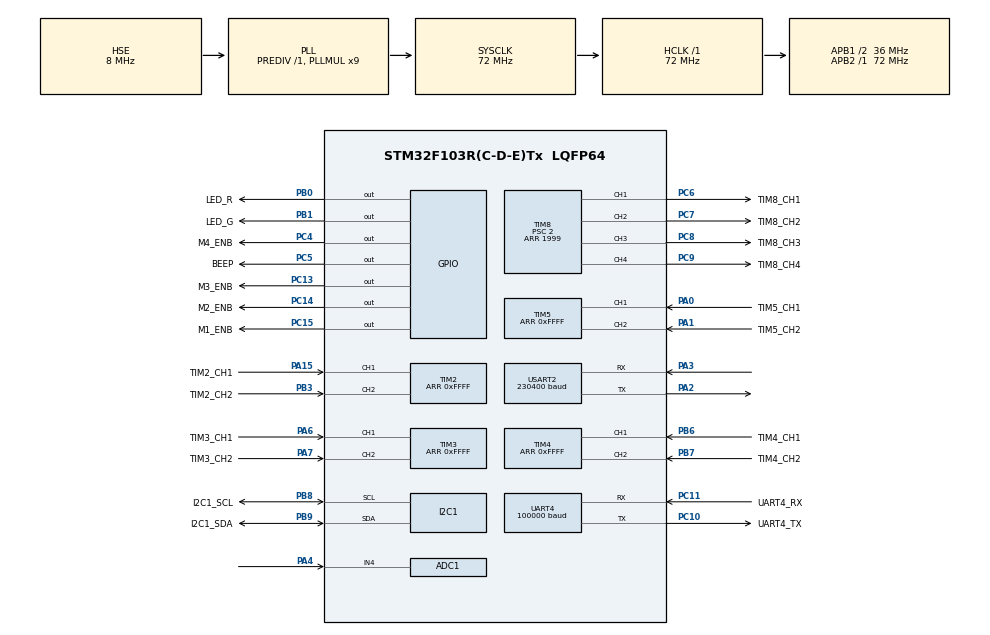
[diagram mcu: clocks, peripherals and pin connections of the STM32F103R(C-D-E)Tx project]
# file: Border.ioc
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ADC1.Channel-1\#ChannelRegularConversion=ADC_CHANNEL_4
ADC1.Channel-2\#ChannelRegularConversion=ADC_CHANNEL_VREFINT
ADC1.ContinuousConvMode=ENABLE
ADC1.DataAlign=ADC_DATAALIGN_LEFT
ADC1.EnableAnalogWatchDog=false
ADC1.EnableInjectedConversion=DISABLE
ADC1.EnableRegularConversion=ENABLE
ADC1.ExternalTrigConv=ADC_SOFTWARE_START
ADC1.InjNumberOfConversion=3
ADC1.Mode=__NULL
ADC1.NbrOfConversion=2
ADC1.NbrOfConversionFlag=1
ADC1.Rank-1\#ChannelRegularConversion=1
ADC1.Rank-2\#ChannelRegularConversion=2
ADC1.SamplingTime-1\#ChannelRegularConversion=ADC_SAMPLETIME_1CYCLE_5
ADC1.SamplingTime-2\#ChannelRegularConversion=ADC_SAMPLETIME_1CYCLE_5
ADC1.master=1
Dma.ADC1.4.Direction=DMA_PERIPH_TO_MEMORY
Dma.ADC1.4.Instance=DMA1_Channel1
Dma.ADC1.4.MemDataAlignment=DMA_MDATAALIGN_WORD
Dma.ADC1.4.MemInc=DMA_MINC_ENABLE
Dma.ADC1.4.Mode=DMA_CIRCULAR
Dma.ADC1.4.PeriphDataAlignment=DMA_PDATAALIGN_WORD
Dma.ADC1.4.PeriphInc=DMA_PINC_DISABLE
Dma.ADC1.4.Priority=DMA_PRIORITY_HIGH
Dma.Request0=UART4_RX
Dma.Request1=UART4_TX
Dma.Request2=USART2_RX
Dma.Request3=USART2_TX
Dma.Request4=ADC1
Dma.UART4_RX.0.Direction=DMA_PERIPH_TO_MEMORY
Dma.UART4_RX.0.Instance=DMA2_Channel3
Dma.UART4_RX.0.MemDataAlignment=DMA_MDATAALIGN_BYTE
Dma.UART4_RX.0.MemInc=DMA_MINC_ENABLE
Dma.UART4_RX.0.Mode=DMA_NORMAL
Dma.UART4_RX.0.PeriphDataAlignment=DMA_PDATAALIGN_BYTE
Dma.UART4_RX.0.PeriphInc=DMA_PINC_DISABLE
Dma.UART4_RX.0.Priority=DMA_PRIORITY_LOW
Dma.UART4_TX.1.Direction=DMA_MEMORY_TO_PERIPH
Dma.UART4_TX.1.Instance=DMA2_Channel5
Dma.UART4_TX.1.MemDataAlignment=DMA_MDATAALIGN_BYTE
Dma.UART4_TX.1.MemInc=DMA_MINC_ENABLE
Dma.UART4_TX.1.Mode=DMA_NORMAL
Dma.UART4_TX.1.PeriphDataAlignment=DMA_PDATAALIGN_BYTE
Dma.UART4_TX.1.PeriphInc=DMA_PINC_DISABLE
Dma.UART4_TX.1.Priority=DMA_PRIORITY_LOW
Dma.USART2_RX.2.Direction=DMA_PERIPH_TO_MEMORY
Dma.USART2_RX.2.Instance=DMA1_Channel6
Dma.USART2_RX.2.MemDataAlignment=DMA_MDATAALIGN_BYTE
Dma.USART2_RX.2.MemInc=DMA_MINC_ENABLE
Dma.USART2_RX.2.Mode=DMA_NORMAL
Dma.USART2_RX.2.PeriphDataAlignment=DMA_PDATAALIGN_BYTE
Dma.USART2_RX.2.PeriphInc=DMA_PINC_DISABLE
Dma.USART2_RX.2.Priority=DMA_PRIORITY_LOW
Dma.USART2_TX.3.Direction=DMA_MEMORY_TO_PERIPH
Dma.USART2_TX.3.Instance=DMA1_Channel7
Dma.USART2_TX.3.MemDataAlignment=DMA_MDATAALIGN_BYTE
Dma.USART2_TX.3.MemInc=DMA_MINC_ENABLE
Dma.USART2_TX.3.Mode=DMA_NORMAL
Dma.USART2_TX.3.PeriphDataAlignment=DMA_PDATAALIGN_BYTE
Dma.USART2_TX.3.PeriphInc=DMA_PINC_DISABLE
Dma.USART2_TX.3.Priority=DMA_PRIORITY_LOW
FREERTOS.INCLUDE_vTaskDelayUntil=1
FREERTOS.MEMORY_ALLOCATION=0
FREERTOS.Tasks01=Batter_Task_t,3,128,Batter_Task,Default,NULL,Dynamic,NULL,NULL;IMUTask_t,1,128,IMUTask,Default,NULL,Dynamic,NULL,NULL;Move_base_Task_,-3,1024,Move_base_Task,Default,NULL,Dynamic,NULL,NULL;DataTreatTask04,2,128,DataTreat_Task,Default,NULL,Dynamic,NULL,NULL;Data2PCTask,2,256,Data2PC_Task,Default,NULL,Dynamic,NULL,NULL
FREERTOS.configIDLE_SHOULD_YIELD=1
FREERTOS.configMAX_PRIORITIES=8
FREERTOS.configTOTAL_HEAP_SIZE=20480
FREERTOS.configUSE_TRACE_FACILITY=1
Mcu.Family=STM32F1
Mcu.Name=STM32F103R(C-D-E)Tx
Mcu.Package=LQFP64
NVIC.DMA1_Channel6_IRQn=true\:5\:0\:false\:false\:true\:true\:false\:true
NVIC.DMA1_Channel7_IRQn=true\:5\:0\:false\:false\:true\:true\:false\:true
NVIC.DMA2_Channel3_IRQn=true\:5\:0\:false\:false\:true\:true\:false\:true
NVIC.DMA2_Channel4_5_IRQn=true\:5\:0\:false\:false\:true\:true\:false\:true
NVIC.I2C1_ER_IRQn=true\:1\:0\:true\:false\:true\:false\:true\:true
NVIC.I2C1_EV_IRQn=true\:1\:0\:true\:false\:true\:false\:true\:true
NVIC.PriorityGroup=NVIC_PRIORITYGROUP_4
NVIC.TIM1_UP_IRQn=true\:0\:0\:false\:false\:true\:false\:false\:true
NVIC.TIM2_IRQn=true\:3\:0\:true\:false\:true\:false\:true\:true
NVIC.TIM3_IRQn=true\:3\:0\:true\:false\:true\:false\:true\:true
NVIC.TIM4_IRQn=true\:3\:0\:true\:false\:true\:false\:true\:true
NVIC.TIM5_IRQn=true\:3\:0\:true\:false\:true\:false\:true\:true
NVIC.TimeBase=TIM1_UP_IRQn
NVIC.TimeBaseIP=TIM1
NVIC.UART4_IRQn=true\:2\:0\:true\:false\:true\:false\:true\:true
NVIC.USART2_IRQn=true\:3\:0\:true\:false\:true\:false\:true\:true
PA0-WKUP.GPIO_Label=TIM5_CH1
PA0-WKUP.Signal=S_TIM5_CH1
PA1.GPIO_Label=TIM5_CH2
PA1.Signal=S_TIM5_CH2
PA13.Mode=Serial_Wire
PA13.Signal=SYS_JTMS-SWDIO
PA14.Mode=Serial_Wire
PA14.Signal=SYS_JTCK-SWCLK
PA15.GPIO_Label=TIM2_CH1
PA15.Signal=S_TIM2_CH1_ETR
PA2.Mode=Asynchronous
PA2.Signal=USART2_TX
PA3.Mode=Asynchronous
PA3.Signal=USART2_RX
PA4.Signal=ADCx_IN4
PA6.GPIO_Label=TIM3_CH1
PA6.Signal=S_TIM3_CH1
PA7.GPIO_Label=TIM3_CH2
PA7.Signal=S_TIM3_CH2
PB0.GPIO_Label=LED_R
PB0.GPIO_PuPd=GPIO_PULLDOWN
PB0.Signal=GPIO_Output
PB1.GPIO_Label=LED_G
PB1.GPIO_PuPd=GPIO_PULLDOWN
PB1.Signal=GPIO_Output
PB3.GPIO_Label=TIM2_CH2
PB3.Signal=S_TIM2_CH2
PB6.GPIO_Label=TIM4_CH1
PB6.Signal=S_TIM4_CH1
PB7.GPIO_Label=TIM4_CH2
PB7.Signal=S_TIM4_CH2
PB8.GPIO_Label=I2C1_SCL
PB8.Mode=I2C
PB8.Signal=I2C1_SCL
PB9.GPIO_Label=I2C1_SDA
PB9.Mode=I2C
PB9.Signal=I2C1_SDA
PC10.GPIO_Label=UART4_TX
PC10.Mode=Asynchronous
PC10.Signal=UART4_TX
PC11.GPIO_Label=UART4_RX
PC11.Mode=Asynchronous
PC11.Signal=UART4_RX
PC13-TAMPER-RTC.GPIO_Label=M3_ENB
PC13-TAMPER-RTC.Signal=GPIO_Output
PC14-OSC32_IN.GPIO_Label=M2_ENB
PC14-OSC32_IN.Signal=GPIO_Output
PC15-OSC32_OUT.GPIO_Label=M1_ENB
PC15-OSC32_OUT.Signal=GPIO_Output
PC4.GPIO_Label=M4_ENB
PC4.Signal=GPIO_Output
PC5.GPIO_Label=BEEP
PC5.Signal=GPIO_Output
PC6.GPIO_Label=TIM8_CH1
PC6.Signal=S_TIM8_CH1
PC7.GPIO_Label=TIM8_CH2
PC7.Signal=S_TIM8_CH2
PC8.GPIO_Label=TIM8_CH3
PC8.Signal=S_TIM8_CH3
PC9.GPIO_Label=TIM8_CH4
PC9.Signal=S_TIM8_CH4
PD0-OSC_IN.Mode=HSE-External-Oscillator
PD0-OSC_IN.Signal=RCC_OSC_IN
PD1-OSC_OUT.Mode=HSE-External-Oscillator
PD1-OSC_OUT.Signal=RCC_OSC_OUT
ProjectManager.HeapSize=0x200
ProjectManager.StackSize=0x400
ProjectManager.TargetToolchain=MDK-ARM V5.27
RCC.ADCPresc=RCC_ADCPCLK2_DIV6
RCC.AHBFreq_Value=72000000
RCC.APB1CLKDivider=RCC_HCLK_DIV2
RCC.APB1Freq_Value=36000000
RCC.APB1TimFreq_Value=72000000
RCC.APB2Freq_Value=72000000
RCC.APB2TimFreq_Value=72000000
RCC.HCLKFreq_Value=72000000
RCC.PLLMUL=RCC_PLL_MUL9
RCC.PLLSourceVirtual=RCC_PLLSOURCE_HSE
RCC.SYSCLKFreq_VALUE=72000000
RCC.SYSCLKSource=RCC_SYSCLKSOURCE_PLLCLK
RCC.USBFreq_Value=72000000
SH.ADCx_IN4.0=ADC2_IN4
SH.ADCx_IN4.1=ADC1_IN4,IN4
SH.S_TIM2_CH1_ETR.0=TIM2_CH1,Encoder_Interface
SH.S_TIM2_CH2.0=TIM2_CH2,Encoder_Interface
SH.S_TIM3_CH1.0=TIM3_CH1,Encoder_Interface
SH.S_TIM3_CH2.0=TIM3_CH2,Encoder_Interface
SH.S_TIM4_CH1.0=TIM4_CH1,Encoder_Interface
SH.S_TIM4_CH2.0=TIM4_CH2,Encoder_Interface
SH.S_TIM5_CH1.0=TIM5_CH1,Encoder_Interface
SH.S_TIM5_CH2.0=TIM5_CH2,Encoder_Interface
SH.S_TIM8_CH1.0=TIM8_CH1,PWM Generation1 CH1
SH.S_TIM8_CH2.0=TIM8_CH2,PWM Generation2 CH2
SH.S_TIM8_CH3.0=TIM8_CH3,PWM Generation3 CH3
SH.S_TIM8_CH4.0=TIM8_CH4,PWM Generation4 CH4
TIM2.EncoderMode=TIM_ENCODERMODE_TI12
TIM2.IC1Filter=0xF
TIM2.IC2Filter=0xF
TIM2.Period=0xFFFF
TIM3.EncoderMode=TIM_ENCODERMODE_TI12
TIM3.IC1Filter=0xF
TIM3.IC2Filter=0xF
TIM3.Period=0xFFFF
TIM4.EncoderMode=TIM_ENCODERMODE_TI12
TIM4.IC1Filter=0xF
TIM4.IC2Filter=0xF
TIM4.Period=0xFFFF
TIM5.EncoderMode=TIM_ENCODERMODE_TI12
TIM5.IC1Filter=0xF
TIM5.IC2Filter=0xF
TIM5.Period=0xFFFF
TIM6.AutoReloadPreload=TIM_AUTORELOAD_PRELOAD_DISABLE
TIM6.Period=0xFFFF
TIM6.Prescaler=71
TIM8.Channel-PWM\ Generation1\ CH1=TIM_CHANNEL_1
TIM8.Channel-PWM\ Generation2\ CH2=TIM_CHANNEL_2
TIM8.Channel-PWM\ Generation3\ CH3=TIM_CHANNEL_3
TIM8.Channel-PWM\ Generation4\ CH4=TIM_CHANNEL_4
TIM8.Period=1999
TIM8.Prescaler=2
TIM8.Pulse-PWM\ Generation1\ CH1=2000
TIM8.Pulse-PWM\ Generation2\ CH2=2000
TIM8.Pulse-PWM\ Generation3\ CH3=2000
TIM8.Pulse-PWM\ Generation4\ CH4=2000
UART4.BaudRate=100000
UART4.Mode=MODE_TX_RX
UART4.Parity=PARITY_EVEN
UART4.VirtualMode=Asynchronous
UART4.WordLength=WORDLENGTH_9B
USART2.BaudRate=230400
USART2.VirtualMode=VM_ASYNC
VP_ADC1_Vref_Input.Mode=IN-Vrefint
VP_FREERTOS_VS_CMSIS_V1.Mode=CMSIS_V1
VP_SYS_VS_tim1.Mode=TIM1
VP_TIM6_VS_ClockSourceINT.Mode=Enable_Timer
board=custom

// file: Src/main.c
/* USER CODE BEGIN Header */
/**
  ******************************************************************************
  * @file           : main.c
  * @brief          : Main program body
  ******************************************************************************
  * @attention
  *
  * <h2><center>&copy; Copyright (c) 2022 STMicroelectronics.
  * All rights reserved.</center></h2>
  *
  * This software component is licensed by ST under BSD 3-Clause license,
  * the "License"; You may not use this file except in compliance with the
  * License. You may obtain a copy of the License at:
  *                        opensource.org/licenses/BSD-3-Clause
  *
  ******************************************************************************
  */
/* USER CODE END Header */

#include "main.h"
#include "cmsis_os.h"
#include "adc.h"
#include "dma.h"
#include "i2c.h"
#include "tim.h"
#include "usart.h"
#include "gpio.h"

/* USER CODE BEGIN Includes */
#include "ROS_ShareWare.h"
#include "MPU6050.h"
#include "IMU.h"
#include "CANopenLink.h"
#include "canfestival.h"
#include "can.h"
#include "Motor.h"
#include "BatteryInfor.h"
#include "maincpp.h"
/* USER CODE END Includes */

void SystemClock_Config(void);
void MX_FREERTOS_Init(void);

int main(void)
{

  /* MCU Configuration--------------------------------------------------------*/

  /* Reset of all peripherals, Initializes the Flash interface and the Systick. */
  HAL_Init();

  /* Configure the system clock */
  SystemClock_Config();

  /* Initialize all configured peripherals */
  MX_GPIO_Init();
  MX_DMA_Init();
  MX_I2C1_Init();
  MX_UART4_Init();
  MX_TIM2_Init();
  MX_TIM3_Init();
  MX_TIM4_Init();
  MX_TIM5_Init();
  MX_TIM6_Init();
  MX_TIM8_Init();
  MX_ADC1_Init();
  MX_USART2_UART_Init();
  /* USER CODE BEGIN 2 */
	//编码器计数器对应定时器初始化
	Encoder_StructM1_Init(4);	//编码器驱动
	Encoder_StructM2_Init(2);	//编码器驱动
	Encoder_StructM3_Init(5);	//编码器驱动
	Encoder_StructM4_Init(3);	//编码器驱动
	//MPU6050算法初始化
	MPU6050_Init(&MPU6050);
	Gyro_OFFEST();

	Encoder_TimStart(1);	//轮胎1编码器
	Encoder_TimStart(2);	//轮胎2编码器
	Encoder_TimStart(3);	//轮胎3编码器
	Encoder_TimStart(4);	//轮胎4编码器
	//计数定时器
	ClockInit();

	Batter_Init();
	HAL_GPIO_WritePin(GPIOC,BEEP_Pin,GPIO_PIN_SET);
	HAL_Delay(50);
	HAL_GPIO_WritePin(GPIOC,BEEP_Pin,GPIO_PIN_RESET);
	HAL_Delay(50);
	HAL_GPIO_WritePin(GPIOC,BEEP_Pin,GPIO_PIN_SET);
	HAL_Delay(50);
	HAL_GPIO_WritePin(GPIOC,BEEP_Pin,GPIO_PIN_RESET);
	HAL_Delay(100);
  /* USER CODE END 2 */

  /* Call init function for freertos objects (in freertos.c) */
  MX_FREERTOS_Init();
  /* Start scheduler */
  osKernelStart();

  /* We should never get here as control is now taken by the scheduler */
  /* Infinite loop */
  while (1)
  {

  }
}

void SystemClock_Config(void)
{
  RCC_OscInitTypeDef RCC_OscInitStruct = {0};
  RCC_ClkInitTypeDef RCC_ClkInitStruct = {0};
  RCC_PeriphCLKInitTypeDef PeriphClkInit = {0};

  /** Initializes the CPU, AHB and APB busses clocks
  */
  RCC_OscInitStruct.OscillatorType = RCC_OSCILLATORTYPE_HSE;
  RCC_OscInitStruct.HSEState = RCC_HSE_ON;
  RCC_OscInitStruct.HSEPredivValue = RCC_HSE_PREDIV_DIV1;
  RCC_OscInitStruct.HSIState = RCC_HSI_ON;
  RCC_OscInitStruct.PLL.PLLState = RCC_PLL_ON;
  RCC_OscInitStruct.PLL.PLLSource = RCC_PLLSOURCE_HSE;
  RCC_OscInitStruct.PLL.PLLMUL = RCC_PLL_MUL9;
  if (HAL_RCC_OscConfig(&RCC_OscInitStruct) != HAL_OK)
  {
    Error_Handler();
  }
  /** Initializes the CPU, AHB and APB busses clocks
  */
  RCC_ClkInitStruct.ClockType = RCC_CLOCKTYPE_HCLK|RCC_CLOCKTYPE_SYSCLK
                              |RCC_CLOCKTYPE_PCLK1|RCC_CLOCKTYPE_PCLK2;
  RCC_ClkInitStruct.SYSCLKSource = RCC_SYSCLKSOURCE_PLLCLK;
  RCC_ClkInitStruct.AHBCLKDivider = RCC_SYSCLK_DIV1;
  RCC_ClkInitStruct.APB1CLKDivider = RCC_HCLK_DIV2;
  RCC_ClkInitStruct.APB2CLKDivider = RCC_HCLK_DIV1;

  if (HAL_RCC_ClockConfig(&RCC_ClkInitStruct, FLASH_LATENCY_2) != HAL_OK)
  {
    Error_Handler();
  }
  PeriphClkInit.PeriphClockSelection = RCC_PERIPHCLK_ADC;
  PeriphClkInit.AdcClockSelection = RCC_ADCPCLK2_DIV6;
  if (HAL_RCCEx_PeriphCLKConfig(&PeriphClkInit) != HAL_OK)
  {
    Error_Handler();
  }
}

 /**
  * @brief  Period elapsed callback in non blocking mode
  * @note   This function is called  when TIM1 interrupt took place, inside
  * HAL_TIM_IRQHandler(). It makes a direct call to HAL_IncTick() to increment
  * a global variable "uwTick" used as application time base.
  * @param  htim : TIM handle
  * @retval None
  */
void HAL_TIM_PeriodElapsedCallback(TIM_HandleTypeDef *htim)
{
  if (htim->Instance == TIM1) {
    HAL_IncTick();
  }
  /* USER CODE BEGIN Callback 1 */
	if(htim->Instance == TIM1){
	Systick_accumulate();
	}

	if(htim->Instance==TIM2){
	__HAL_TIM_PeriodElapsedCallback(htim);
	}else
	if(htim->Instance == TIM3){
	__HAL_TIM_PeriodElapsedCallback(htim);
	}else
	if(htim->Instance == TIM4){
	__HAL_TIM_PeriodElapsedCallback(htim);
	}else
	if(htim->Instance == TIM5){
	__HAL_TIM_PeriodElapsedCallback(htim);
	}

  /* USER CODE END Callback 1 */
}

void Error_Handler(void)
{
}

/************************ (C) COPYRIGHT STMicroelectronics *****END OF FILE****/

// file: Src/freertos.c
/* USER CODE BEGIN Header */
/**
  ******************************************************************************
  * File Name          : freertos.c
  * Description        : Code for freertos applications
  ******************************************************************************
  * @attention
  *
  * <h2><center>&copy; Copyright (c) 2022 STMicroelectronics.
  * All rights reserved.</center></h2>
  *
  * This software component is licensed by ST under Ultimate Liberty license
  * SLA0044, the "License"; You may not use this file except in compliance with
  * the License. You may obtain a copy of the License at:
  *                             www.st.com/SLA0044
  *
  ******************************************************************************
  */
/* USER CODE END Header */

#include "FreeRTOS.h"
#include "task.h"
#include "main.h"
#include "cmsis_os.h"

/* USER CODE BEGIN Includes */
#include "MPU6050.h"
#include "IMU.h"
#include "Motor.h"
#include "Encoder.h"
#include "ROS_Shareware.h"
#include "uTask.h"
#include "LowPassFilter.h"
#include	"Kinematics_4WD.h"
#include	"VelocityControl.h"
#include "PID.h"
#include "math.h"
#include "BatteryInfor.h"
#include "usart.h"
#include "UpperComputer.h"
/* USER CODE END Includes */

/* USER CODE BEGIN PTD */
/********************************移动任务******************************************/
#define USER_MOVE_VARIABLE_DBUG 0		//移动任务		参数    调试宏定义
#define USER_DBUG_WHEEL_RUN			0		//移动任务		PWM输出 调试宏定义
/********************************电池任务******************************************/
#define USER_BATTERY_VARIABLE_DBUG 0		//移动任务		参数    调试宏定义

/********************************数据传输任务******************************************/
#define USER_DATA_VARIABLE_DBUG 0		//移动任务		参数    调试宏定义
/********************************上位机传输任务******************************************/
#define USER_COMPUTER_VARIABLE_DBUG 0		//移动任务		参数    调试宏定义
/********************************底盘跟随模式******************************************/
#define USER_CLASS_FLOW_MODE 0		//移动任务		参数    调试宏定义
/* USER CODE END PTD */

osThreadId Batter_Task_tHandle;
osThreadId IMUTask_tHandle;
osThreadId Move_base_Task_Handle;
osThreadId DataTreatTask04Handle;
osThreadId Data2PCTaskHandle;

/* USER CODE BEGIN FunctionPrototypes */
   //按键消息队列的数量
#define RC_Q_NUM    1  		//遥控消息队列的数量
QueueHandle_t RC_Queue;   		//遥控值消息队列句柄
#define MOVE_Q_NUM    1  		//底盘运动消息队列的数量
QueueHandle_t MOVE_Queue;   		//底盘运动值消息队列句柄
#define IMU_Q_NUM    1  		//IMU消息队列的数量
QueueHandle_t IMU_Queue;   		//IMU值消息队列句柄

#if USER_CLASS_FLOW_MODE==1
#define IMU_POSE_Q_NUM 1			//IMU解算姿态数据消息队列的数量
QueueHandle_t IMU_POSE_Queue;   		//IMU值消息队列句柄
#endif

#define BATTER_Q_NUM 1			//IMU解算姿态数据消息队列的数量
QueueHandle_t BATTER_Queue;   		//IMU值消息队列句柄

/* USER CODE END FunctionPrototypes */

void Batter_Task(void const * argument);
void IMUTask(void const * argument);
void Move_base_Task(void const * argument);
void DataTreat_Task(void const * argument);
void Data2PC_Task(void const * argument);

void MX_FREERTOS_Init(void); /* (MISRA C 2004 rule 8.1) */

void MX_FREERTOS_Init(void) {

  /* USER CODE BEGIN RTOS_QUEUES */
  RC_Queue=xQueueCreate(RC_Q_NUM,sizeof(RosRemote));					//移动数据传输
  MOVE_Queue=xQueueCreate(MOVE_Q_NUM,sizeof(Kinematics_Struct));					//移动数据传输
  BATTER_Queue=xQueueCreate(BATTER_Q_NUM,sizeof(Battery_Struct));					//移动数据传输
  IMU_Queue=xQueueCreate(IMU_Q_NUM,sizeof(struct PCdataUp));	//IMU数据传输
	#if USER_CLASS_FLOW_MODE==1
  IMU_POSE_Queue=xQueueCreate(IMU_POSE_Q_NUM,sizeof(struct Attitude));	//IMU数据传输
	#endif
	/* add queues, ... */

	//sizeof(RosRemote*)
  /* USER CODE END RTOS_QUEUES */

  /* Create the thread(s) */
  /* definition and creation of Batter_Task_t */
  osThreadDef(Batter_Task_t, Batter_Task, osPriorityRealtime, 0, 128);
  Batter_Task_tHandle = osThreadCreate(osThread(Batter_Task_t), NULL);

  /* definition and creation of IMUTask_t */
  osThreadDef(IMUTask_t, IMUTask, osPriorityAboveNormal, 0, 256);
  IMUTask_tHandle = osThreadCreate(osThread(IMUTask_t), NULL);

  /* definition and creation of Move_base_Task_ */
  osThreadDef(Move_base_Task_, Move_base_Task, osPriorityIdle, 0, 1024);
  Move_base_Task_Handle = osThreadCreate(osThread(Move_base_Task_), NULL);

  /* definition and creation of DataTreatTask04 */
  osThreadDef(DataTreatTask04, DataTreat_Task, osPriorityHigh, 0, 256);
  DataTreatTask04Handle = osThreadCreate(osThread(DataTreatTask04), NULL);

  /* definition and creation of Data2PCTask */
  osThreadDef(Data2PCTask, Data2PC_Task, osPriorityHigh, 0, 256);
  Data2PCTaskHandle = osThreadCreate(osThread(Data2PCTask), NULL);

}

/* USER CODE BEGIN Header_Batter_Task */
/**
  * @brief  Function implementing the Batter_Task_t thread.
  * @param  argument: Not used
  * @retval None
  */
	#if USER_BATTERY_VARIABLE_DBUG==1
	Battery_Struct Battery={0,0,0,0};//电池状态信息结构体参数
#endif
/* USER CODE END Header_Batter_Task */
void Batter_Task(void const * argument)
{
  /* USER CODE BEGIN Batter_Task */
  /* Infinite loop */
	taskENTER_CRITICAL();//进入临界区
	#if USER_BATTERY_VARIABLE_DBUG==0
	Battery_Struct Battery={0,0,0,0};//电池状态信息结构体参数
	#endif
	BaseType_t BATTER_err;
  LPF_Struct LPF_SupplyVoltage;//创建低通滤波电源电压值结构体参数
  LPF_Struct_Init(&LPF_SupplyVoltage,0.3);//低通滤波结构体参数初始化
	TickType_t xLastWakeTime;
  const TickType_t xFrequency = 500; //运行周期
	taskEXIT_CRITICAL();//退出临界区

  for(;;)
  {

		xLastWakeTime=xTaskGetTickCount();  //获得当前系统时钟

		UpdateBatteryInfor(&LPF_SupplyVoltage,&Battery,(uint32_t *)ADC1_DMA_Buff);
		if(BATTER_Queue!=NULL)
		{
			BATTER_err=xQueueSend(BATTER_Queue,&Battery,1);
			if(BATTER_err==errQUEUE_FULL)
			{

			}

		}

		osDelayUntil(&xLastWakeTime,xFrequency);//500ms运行周期绝对周期

  }
  /* USER CODE END Batter_Task */
}

/* USER CODE BEGIN Header_IMUTask */
/**
* @brief Function implementing the IMUTask_t thread.
* @param argument: Not used
* @retval None
*/	struct PCdataUp IMUdata_Mid;

/* USER CODE END Header_IMUTask */
void IMUTask(void const * argument)
{
  /* USER CODE BEGIN IMUTask */
  /* Infinite loop */
	taskENTER_CRITICAL();//进入临界区
	BaseType_t IMU_err=errQUEUE_FULL;
	BaseType_t IMU_POSE_err=errQUEUE_FULL;
	#if USER_CLASS_FLOW_MODE==1
	struct Attitude Attitude={0};
	#endif
  TickType_t xLastWakeTime;
  const TickType_t xFrequency = 3; //运行周期
	taskEXIT_CRITICAL();//退出临界区

  for(;;)
  {
		xLastWakeTime=xTaskGetTickCount();  //获得当前系统时间
		PrepareForIMU(1);
		#if USER_CLASS_FLOW_MODE==1
		Attitude_Update(&Attitude);
		#endif
		IMU2PC_Updata(&IMUdata_Mid);//更新IMU数据上传到电脑

		if(IMU_Queue!=NULL){
				IMU_err=xQueueSend(IMU_Queue,&IMUdata_Mid,IMU_Q_NUM);
				if(IMU_err==errQUEUE_FULL){

				}

		}
	#if USER_CLASS_FLOW_MODE==1
		if(IMU_POSE_Queue!=NULL){
			IMU_POSE_err=xQueueSend(IMU_POSE_Queue,&Attitude,IMU_POSE_Q_NUM);
		}
	#endif

		osDelayUntil(&xLastWakeTime,xFrequency);//10ms运行周期绝对周期
  }
  /* USER CODE END IMUTask */
}

/* USER CODE BEGIN Header_Move_base_Task */
/**
* @brief Function implementing the Move_base_Task_ thread.
* @param argument: Not used
* @retval None
*/
#define CONTROL_MASSAGE_HZ	200	//数据读取频率

/*Dbug*/
#if USER_MOVE_VARIABLE_DBUG ==1
	uint32_t previous_Massage_time=0;
	uint8_t	RC_UpdataFlag=0;

  TickType_t xLastWakeTime;
  const TickType_t xFrequency = 3; //运行周期
  RosRemote p_RC_data={.ROS_Schema=STATE_LOST,
                       .Linear_X=0,
                       .Linear_Y=0,
                       .Angular_Z=0};

  RC_Mid  RC={0,0};
  uint8_t QueueGetUpdataNum=0;  //队列出错计数位

  LPF_Struct LPF_Linear_X;//创建低通滤波车体X轴线速度结构体参数
  LPF_Struct LPF_Angular_Z;//创建低通滤波车体Z轴角速度结构体参数
  Kinematics_Struct Kinematics_Inverse;//创建车体运动学逆解结构体参数
  Kinematics_Struct Kinematics_Forward;//创建车体运动学正解结构体参数
  VelControl_Struct VelControl;//创建电机转速控制结构体参数

	float LPF_X=0,LPF_Y=0;
  Encoder_Struct Encoder[4]={{.Updata_Flag=0,.TIMx=0,.OverflowCount=0,
                              .CNT_Last=0,.CaptureCount=0,.Capture_D_Value=0}
                              ,{.Updata_Flag=0,.TIMx=0,.OverflowCount=0,
                              .CNT_Last=0,.CaptureCount=0,.Capture_D_Value=0}
                              ,{.Updata_Flag=0,.TIMx=0,.OverflowCount=0,
                              .CNT_Last=0,.CaptureCount=0,.Capture_D_Value=0}
                              ,{.Updata_Flag=0,.TIMx=0,.OverflowCount=0,
                              .CNT_Last=0,.CaptureCount=0,.Capture_D_Value=0}};

  int16_t D_Value_mid[4]={0,0,0,0};

   float PWM_M1=0;
	 float PWM_M2=0;
	 float PWM_M3=0;
	 float PWM_M4=0;

  IncPID_Struct PID_M1={0,0,0,0,0,0};//创建M1电机PID结构体参数
  IncPID_Struct PID_M2={0,0,0,0,0,0};//创建M2电机PID结构体参数
  IncPID_Struct PID_M3={0,0,0,0,0,0};//创建M3电机PID结构体参数
  IncPID_Struct PID_M4={0,0,0,0,0,0};//创建M4电机PID结构体参数
	uint8_t i = 0;

#endif

#if USER_DBUG_WHEEL_RUN==1
	float dbug_PWM1=0;
	float dbug_PWM2=0;
	float dbug_PWM3=0;
	float dbug_PWM4=0;

#endif
/* USER CODE END Header_Move_base_Task */
void Move_base_Task(void const * argument)
{
  /* USER CODE BEGIN Move_base_Task */
  /* Infinite loop */
	taskENTER_CRITICAL();//进入临界区
	#if USER_MOVE_VARIABLE_DBUG==0
	uint32_t previous_Massage_time=0;
	uint8_t	RC_UpdataFlag=0;
	uint8_t IMU_POSE_UpdataFlag=0;
  BaseType_t MOVE_err;
  TickType_t xLastWakeTime;
  const TickType_t xFrequency = 3; //运行周期
  RosRemote p_RC_data={.ROS_Schema=STATE_LOST,
                       .Linear_X=0,
                       .Linear_Y=0,
                       .Angular_Z=0};
	#if USER_CLASS_FLOW_MODE==1
	struct Attitude	Attitude={0};
	uint8_t IMUQueueGetUpdataNum=0;  //队列出错计数位
	#endif
  RC_Mid  RC={0,0};
  uint8_t QueueGetUpdataNum=0;  //队列出错计数位

  LPF_Struct LPF_Linear_X;//创建低通滤波车体X轴线速度结构体参数
  LPF_Struct LPF_Angular_Z;//创建低通滤波车体Z轴角速度结构体参数
	LPF_Struct_Init(&LPF_Linear_X, 0.05);//低通滤波结构体参数初始化
	LPF_Struct_Init(&LPF_Angular_Z, 0.05);//低通滤波结构体参数初始化
  Kinematics_Struct Kinematics_Inverse;//创建车体运动学逆解结构体参数
  Kinematics_Struct Kinematics_Forward;//创建车体运动学正解结构体参数
  VelControl_Struct VelControl;//创建电机转速控制结构体参数

  Encoder_Struct Encoder[4]={{.Updata_Flag=0,.TIMx=0,.OverflowCount=0,
                              .CNT_Last=0,.CaptureCount=0,.Capture_D_Value=0}
                              ,{.Updata_Flag=0,.TIMx=0,.OverflowCount=0,
                              .CNT_Last=0,.CaptureCount=0,.Capture_D_Value=0}
                              ,{.Updata_Flag=0,.TIMx=0,.OverflowCount=0,
                              .CNT_Last=0,.CaptureCount=0,.Capture_D_Value=0}
                              ,{.Updata_Flag=0,.TIMx=0,.OverflowCount=0,
                              .CNT_Last=0,.CaptureCount=0,.Capture_D_Value=0}};

  int16_t D_Value_mid[4]={0,0,0,0};

  static float PWM_M1=0;
	static float PWM_M2=0;
	static float PWM_M3=0;
	static float PWM_M4=0;

  IncPID_Struct PID_M1={0,0,0,0,0,0};//创建M1电机PID结构体参数
  IncPID_Struct PID_M2={0,0,0,0,0,0};//创建M2电机PID结构体参数
  IncPID_Struct PID_M3={0,0,0,0,0,0};//创建M3电机PID结构体参数
  IncPID_Struct PID_M4={0,0,0,0,0,0};//创建M4电机PID结构体参数
	static uint8_t i = 0;
	#endif
	#if	USER_MOVE_VARIABLE_DBUG==1
		LPF_Struct_Init(&LPF_Linear_X, 0.05);//低通滤波结构体参数初始化
	LPF_Struct_Init(&LPF_Angular_Z, 0.05);//低通滤波结构体参数初始化
	#endif
	taskEXIT_CRITICAL();//退出临界区

  for(;;)
  {

  xLastWakeTime=xTaskGetTickCount();  //获得当前系统时钟

	if((getSystick()-previous_Massage_time)>=(1000/CONTROL_MASSAGE_HZ)){
		//检查遥控器数据队列读取数据
    if(RC_Queue!=NULL)
		{
			if(xQueueReceive(RC_Queue,&p_RC_data,1)){
			//获得数据后执行
			RC_UpdataFlag=1;//遥控器刷星完成标志
			QueueGetUpdataNum=0;

			}
      else
      {
        QueueGetUpdataNum++;
      }

		}
    else{
      QueueGetUpdataNum=10;
    }
		#if USER_CLASS_FLOW_MODE==1
		if(IMU_POSE_Queue!=NULL)
		{
			if(xQueueReceive(IMU_POSE_Queue,&Attitude,1))
			{
			IMU_POSE_UpdataFlag=1;
			IMUQueueGetUpdataNum=0;
			}
			else
			{
			IMUQueueGetUpdataNum++;

			}
		}
		else
		{
		IMUQueueGetUpdataNum=10;
		}
		#endif

    /***************************电机控制速度解算**********************/
    if (RC_UpdataFlag==1)
    {
      //运行控制判断
      if (p_RC_data.ROS_Schema==STATE_RC)//遥控器控制
      {

        LPF_Linear_X.a = 0.05f;
				LPF_Angular_Z.a = 0.05f;

        RC_Data_decod(&p_RC_data,&RC);
				Kinematics_Inverse.Linear_X = RC.X * 0.8f;//左侧Y摇杆控制车体X轴线速度
				Kinematics_Inverse.Angular_Z = -RC.Z * 2.0f;//右侧X摇杆控制车体Z轴角速度
      }
      else
      if (p_RC_data.ROS_Schema==STATE_UC) //上位机控制
      {
        /***********上位机电脑控制**************/
				LPF_Linear_X.a = 0.05f;
				LPF_Angular_Z.a = 0.05f;

        RC_Data_decod(&p_RC_data,&RC);
				Kinematics_Inverse.Linear_X = RC.X * 0.8f;//左侧Y摇杆控制车体X轴线速度
				Kinematics_Inverse.Angular_Z = -RC.Z * 2.0f;//右侧X摇杆控制车体Z轴角速度

      }else
      if (p_RC_data.ROS_Schema==STATE_LOST)//遥控器掉线
      {//立即停车
  			LPF_Linear_X.a = 0.05f;
				LPF_Angular_Z.a = 0.05f;
        Kinematics_Inverse.Linear_X = 0;
				Kinematics_Inverse.Angular_Z = 0;
				RC.X=0.0f;
				RC.Z=0.0f;
				Kinematics_Forward.Angular_Z=0;
				Kinematics_Forward.Linear_X=0;
				Kinematics_Forward.Linear_Y=0;
				Kinematics_Forward.M1_RPM=0;
				Kinematics_Forward.M2_RPM=0;
				Kinematics_Forward.M3_RPM=0;
				Kinematics_Forward.M4_RPM=0;
				VelControl.M1_RPM=0;
				VelControl.M2_RPM=0;
				VelControl.M3_RPM=0;
				VelControl.M4_RPM=0;
				VelControl.M1_SetRPM=0;
				VelControl.M2_SetRPM=0;
				VelControl.M3_SetRPM=0;
				VelControl.M4_SetRPM=0;
				PWM_M1=0;
				PWM_M2=0;
				PWM_M3=0;
				PWM_M4=0;
				}
				else
				if(p_RC_data.ROS_Schema==STATE_REST){//遥控器初始化
				LPF_Linear_X.a = 0.05f;
				LPF_Angular_Z.a = 0.05f;
        Kinematics_Inverse.Linear_X = 0;
				Kinematics_Inverse.Angular_Z = 0;
				RC.X=0.0f;
				RC.Z=0.0f;
				Kinematics_Forward.Angular_Z=0;
				Kinematics_Forward.Linear_X=0;
				Kinematics_Forward.Linear_Y=0;
				Kinematics_Forward.M1_RPM=0;
				Kinematics_Forward.M2_RPM=0;
				Kinematics_Forward.M3_RPM=0;
				Kinematics_Forward.M4_RPM=0;
				VelControl.M1_RPM=0;
				VelControl.M2_RPM=0;
				VelControl.M3_RPM=0;
				VelControl.M4_RPM=0;
				VelControl.M1_SetRPM=0;
				VelControl.M2_SetRPM=0;
				VelControl.M3_SetRPM=0;
				VelControl.M4_SetRPM=0;
				PWM_M1=0;
				PWM_M2=0;
				PWM_M3=0;
				PWM_M4=0;

				}
		RC_UpdataFlag=0;
    }
    else{
      if (QueueGetUpdataNum>=5){    //队列出错5次立即停车
        //立即停车
  			LPF_Linear_X.a = 0.05f;
				LPF_Angular_Z.a = 0.05f;
        Kinematics_Inverse.Linear_X = 0;
				Kinematics_Inverse.Angular_Z = 0;
      }
    }

		if(p_RC_data.ROS_Schema==STATE_LOST){
		  Motor_SpeedSET(M1,2000.0f);
			Motor_SpeedSET(M2,2000.0f);
			Motor_SpeedSET(M3,2000.0f);
			Motor_SpeedSET(M4,2000.0f);
		}else
		if(p_RC_data.ROS_Schema==STATE_REST){
		  Motor_SpeedSET(M1,2000.0f);
			Motor_SpeedSET(M2,2000.0f);
			Motor_SpeedSET(M3,2000.0f);
			Motor_SpeedSET(M4,2000.0f);

		}else
		{
				/***********************电机控制输出算法*******************/
				LPF_Linear_X.SampleValue = Kinematics_Inverse.Linear_X;//通过采样车体X轴目标线速度值给低通滤波器结构体中的采集值
				 Kinematics_Inverse.Linear_X = LowPassFilter(&LPF_Linear_X);//车体X轴目标线速度值经过低通滤波器后数值会更加平滑

				LPF_Angular_Z.SampleValue = Kinematics_Inverse.Angular_Z;//通过采样车体Z轴目标角速度值给低通滤波器结构体中的采集值
				Kinematics_Inverse.Angular_Z = LowPassFilter(&LPF_Angular_Z);//车体Z轴目标角速度值经过低通滤波器后数值会更加平滑

				Kinematics_4WD_CalculateRPM(&Kinematics_Inverse);//4WD运动学逆解函数
				VelControl.M1_SetRPM = -Kinematics_Inverse.M1_RPM;//转速值赋值
				VelControl.M2_SetRPM = Kinematics_Inverse.M2_RPM;//转速值赋值
				VelControl.M3_SetRPM = -Kinematics_Inverse.M3_RPM;//转速值赋值
				VelControl.M4_SetRPM = Kinematics_Inverse.M4_RPM;//转速值赋值
				//跟新编码器数值
				getEncoder1_value(&(Encoder[0]));
				getEncoder2_value(&(Encoder[1]));
				getEncoder3_value(&(Encoder[2]));
				getEncoder4_value(&(Encoder[3]));
				//获取编码器Capture_D_Value
				D_Value_mid[0]=-Encoder[0].Capture_D_Value;
				D_Value_mid[1]=Encoder[1].Capture_D_Value;
				D_Value_mid[2]=-Encoder[2].Capture_D_Value;
				D_Value_mid[3]=Encoder[3].Capture_D_Value;

				VelocityControl_4WD(D_Value_mid,&VelControl);

				//速度滤去低值抖动
				if( (fabs(VelControl.M1_SetRPM) < 0.005f) && (fabs(VelControl.M2_SetRPM) < 0.005f) && (fabs(VelControl.M3_SetRPM) < 0.005f) && (fabs(VelControl.M4_SetRPM) < 0.005f) )
				{
				PWM_M1 = PWM_M2 = PWM_M3 = PWM_M4 = 0;
				}

				//PID参数设置更新
				PIDvalue_Updata(&PID_M1,VelControl.M1_SetRPM,1);
				PIDvalue_Updata(&PID_M2,VelControl.M2_SetRPM,2);
				PIDvalue_Updata(&PID_M3,VelControl.M3_SetRPM,3);
				PIDvalue_Updata(&PID_M4,VelControl.M4_SetRPM,4);

				PWM_M1 += Incremental_PID(&PID_M1, -Encoder[0].Capture_D_Value, VelControl.M1_SetRPM * PID_H); //通过增量式PID计算获取M1电机PWM输出
				PWM_M2 += Incremental_PID(&PID_M2, Encoder[1].Capture_D_Value, VelControl.M2_SetRPM * PID_H); //通过增量式PID计算获取M2电机PWM输出
				PWM_M3 += Incremental_PID(&PID_M3, -Encoder[2].Capture_D_Value, VelControl.M3_SetRPM * PID_H); //通过增量式PID计算获取M3电机PWM输出
				PWM_M4 += Incremental_PID(&PID_M4, Encoder[3].Capture_D_Value, VelControl.M4_SetRPM * PID_H); //通过增量式PID计算获取M4电机PWM输出

				/*------------------------PWM限值------------------------*/
				PWM_M1 = Constrain(PWM_M1, -MotorPWM_Max+1, MotorPWM_Max-1);
				PWM_M2 = Constrain(PWM_M2, -MotorPWM_Max+1, MotorPWM_Max-1);
				PWM_M3 = Constrain(PWM_M3, -MotorPWM_Max+1, MotorPWM_Max-1);
				PWM_M4 = Constrain(PWM_M4, -MotorPWM_Max+1, MotorPWM_Max-1);

				/****************设置电机PWM输出值*************************/
				#if USER_DBUG_WHEEL_RUN==0
				if(PWM_M1>=-0)
				{
					Motor_SpeedSET(M1,2000.0f-PWM_M1);
				}else
				if(PWM_M1<-0){
					Motor_SpeedSET(M1,(-2000.0f-PWM_M1));
				}

				if(PWM_M2>=-0)
				{
					Motor_SpeedSET(M2,2000.0f-PWM_M2);
				}else
				if(PWM_M2<-0){
					Motor_SpeedSET(M2,(-2000.0f-PWM_M2));
				}

				if(PWM_M3>=-0)
				{
					Motor_SpeedSET(M3,2000.0f-PWM_M3);
				}else
				if(PWM_M3<-0){
					Motor_SpeedSET(M3,(-2000.0f-PWM_M3));
				}

				if(PWM_M4>=-0)
				{
					Motor_SpeedSET(M4,2000.0f-PWM_M4);
				}else
				if(PWM_M4<-0){
					Motor_SpeedSET(M4,(-2000.0f-PWM_M4));
				}
				#endif

				#if USER_DBUG_WHEEL_RUN==1
				if(dbug_PWM1>=-0)
				{
				Motor_SpeedSET(M1,2000.0f-dbug_PWM1);
				}else
				if(PWM_M1<-0){
				Motor_SpeedSET(M1,(-2000.0f-dbug_PWM1));
				}

				if(dbug_PWM2>=-0)
				{
				Motor_SpeedSET(M2,2000.0f-dbug_PWM2);
				}else
				if(dbug_PWM2<-0){
				Motor_SpeedSET(M2,(-2000.0f-dbug_PWM2));
				}

				if(dbug_PWM3>=-0)
				{
				Motor_SpeedSET(M3,2000.0f-dbug_PWM3);
				}else
				if(dbug_PWM3<-0){
				Motor_SpeedSET(M3,(-2000.0f-dbug_PWM3));
				}

				if(dbug_PWM4>=-0)
				{
				Motor_SpeedSET(M4,2000.0f-dbug_PWM4);
				}else
				if(dbug_PWM4<-0){
				Motor_SpeedSET(M4,(-2000.0f-dbug_PWM4));
				}
				#endif
				/************************逆解算将四轮速度转化位X和Z的速度*********************************/
				i++;
				Kinematics_Forward.M1_RPM += VelControl.M1_RPM;
				Kinematics_Forward.M2_RPM += VelControl.M2_RPM;
				Kinematics_Forward.M3_RPM += VelControl.M3_RPM;
				Kinematics_Forward.M4_RPM += VelControl.M4_RPM;
				if(i > 1)
				{
					Kinematics_Forward.M1_RPM = (float)Kinematics_Forward.M1_RPM / i;
					Kinematics_Forward.M2_RPM = (float)Kinematics_Forward.M2_RPM / i;
					Kinematics_Forward.M3_RPM = (float)Kinematics_Forward.M3_RPM / i;
					Kinematics_Forward.M4_RPM = (float)Kinematics_Forward.M4_RPM / i;
					Kinematics_4WD_GetVelocities(&Kinematics_Forward);//4WD运动学正解函数
					if(MOVE_Queue!=NULL){
						MOVE_err=xQueueSend(MOVE_Queue,&Kinematics_Forward,1);
						if(MOVE_err==errQUEUE_FULL){

						}
					}
					i = Kinematics_Forward.M1_RPM = Kinematics_Forward.M2_RPM = Kinematics_Forward.M3_RPM = Kinematics_Forward.M4_RPM = 0;//清0
				}
				/****************************速度解算完成进行数据传输************************************/

		}
  }

		osDelayUntil(&xLastWakeTime,xFrequency);

  }
  /* USER CODE END Move_base_Task */
}

/* USER CODE BEGIN Header_DataTreat_Task */
/**
* @brief Function implementing the DataTreatTask04 thread.
* @param argument: Not used
* @retval None
*/

#if USER_DATA_VARIABLE_DBUG==1
	RosRemote p_RC_data={.ROS_Schema=STATE_LOST,0,0,0,0,0,0};
  struct PCdataUp IMUdata2PC={0,0,0,0,0,0,0,0,0};
	Kinematics_Struct Kinematics_Forward;//创建车体运动学正解结构体参数
	Battery_Struct PC_Battery={0,0,0,0};//电池状态信息结构体参数

#endif

#define DATABUFF_T_HZ	1000	//在线检测周期运行频率
#define DATABUFF_Send_HZ	200	//在线检测周期运行频率
#define IMUBuffReceive_HZ	100	//IMU数据发送频率

/* USER CODE END Header_DataTreat_Task */
void DataTreat_Task(void const * argument)
{
  /* USER CODE BEGIN DataTreat_Task */
	taskENTER_CRITICAL();//进入临界区
	//遥控器
#if USER_DATA_VARIABLE_DBUG==0
	RosRemote p_RC_data={.ROS_Schema=STATE_LOST,0,0,0,0,0,0};
  struct PCdataUp IMUdata2PC={0,0,0,0,0,0,0,0,0};
	ParseData_Struct ParseData_Mast;//创建上位机解析协议结构体参数

#endif
	BaseType_t RC_err;

	uint32_t previous_DataBuff_T=0;	//在线检测周期运行插值
	uint32_t previous_DataBuffSend_T=0;	//在线检测周期运行插值
	Kinematics_Struct Kinematics_Forward;//创建车体运动学正解结构体参数
	Battery_Struct PC_Battery={0,0,0,0};//电池状态信息结构体参数
	PcTargetSpeed  TargetSpeed={0,0,0};
	uint8_t HeartbeatTime=20;
	taskEXIT_CRITICAL();//退出临界区

  /* Infinite loop */
  for(;;)
  {

		if((getSystick()-previous_DataBuff_T)>=(1000/DATABUFF_T_HZ)){
			OnLineCount();
			previous_DataBuff_T=getSystick();
		}

		/*************************提示可连接遥控器提示音*************/

		//数据发送
		if((getSystick()-previous_DataBuffSend_T)>=(1000/DATABUFF_Send_HZ))
		{
			if(RC_Line_prompt())//是否准许连接遥控提示完成后可以连接遥控或者上位机
			{
				if(RC_Queue!=NULL){
					DataTreat_Receive(&p_RC_data);
					/************启动遥控器时发出遥控器状态提示音*********/
					if(p_RC_data.ROS_Schema==STATE_UC){
					RC_prompt(1);
						if(PcTargetData(&TargetSpeed))
						{
						HeartbeatTime=0;

						}else
						{
						HeartbeatTime++;
						}

					if(HeartbeatTime<20){
						p_RC_data.Angular_Z=TargetSpeed.Angular_Z;
						p_RC_data.Linear_X=TargetSpeed.Linear_X;
						p_RC_data.Linear_Y=TargetSpeed.Linear_Y;
					}else
					{

					p_RC_data.Angular_Z=0.0f;
					p_RC_data.Linear_X=0.0f;
					p_RC_data.Linear_Y=0.0f;

					HeartbeatTime=30;
					}

					}else
					if(p_RC_data.ROS_Schema ==STATE_RC){
					RC_prompt(2);

					}else
					if(p_RC_data.ROS_Schema==STATE_LOST){
					RC_prompt(3);
					p_RC_data.Angular_Z=0.0f;
					p_RC_data.last_Angular_Z=0.0f;
					p_RC_data.last_Linear_X=0.0f;
					p_RC_data.last_Linear_Y=0.0f;
					p_RC_data.Linear_X=0.0f;
					p_RC_data.Linear_Y=0.0f;
					HAL_GPIO_WritePin(GPIOC,BEEP_Pin,GPIO_PIN_RESET);

					}else
					if(p_RC_data.ROS_Schema==STATE_REST){
					RC_prompt(4);
					p_RC_data.Angular_Z=0.0f;
					p_RC_data.last_Angular_Z=0.0f;
					p_RC_data.last_Linear_X=0.0f;
					p_RC_data.last_Linear_Y=0.0f;
					p_RC_data.Linear_X=0.0f;
					p_RC_data.Linear_Y=0.0f;
					}
	/******************************遥控器数据发送*************************/
					RC_err=xQueueSend(RC_Queue,&p_RC_data,1);
					if(RC_err==errQUEUE_FULL){

					}
				}

			}
			previous_DataBuffSend_T=getSystick();
		}

		if((p_RC_data.ROS_Schema==STATE_UC)||(p_RC_data.ROS_Schema ==STATE_RC)){
				//向电脑发送IMU数据更新
				if (IMU_Queue!=NULL)
				{
					if (xQueueReceive(IMU_Queue,&IMUdata2PC,10))
					{
						/*发送数据到上位机*/
						update_IMUdata(&IMUdata2PC);
						}
					}
				//向电脑发送移动数据更新
					if(MOVE_Queue!=NULL){
					if(xQueueReceive(MOVE_Queue,&Kinematics_Forward,1)){

							/*发送速度到上位机*/
							update_MOVEdata(&Kinematics_Forward);
						}
						else{

						}
					}
					//向电脑发送电量数据更新
					if(BATTER_Queue!=NULL){
						if(xQueueReceive(BATTER_Queue,&PC_Battery,1))
						{
							/*向电脑发送电量数据*/
							update_Batterydata(&PC_Battery);

						}

					}

		}

  }
  /* USER CODE END DataTreat_Task */
}

void Data2PC_Task(void const * argument)
{
  /* USER CODE BEGIN Data2PC_Task */
		taskENTER_CRITICAL();//进入临界区
		TickType_t xLastWakeTime;
		const TickType_t xFrequency = 5; //运行周期

		taskEXIT_CRITICAL();//退出临界区

  /* Infinite loop */
  for(;;)
  {
	  xLastWakeTime=xTaskGetTickCount();  //获得当前系统时钟

		PC_msgUpdate();

		osDelayUntil(&xLastWakeTime,xFrequency);

  }
  /* USER CODE END Data2PC_Task */
}

/************************ (C) COPYRIGHT STMicroelectronics *****END OF FILE****/
